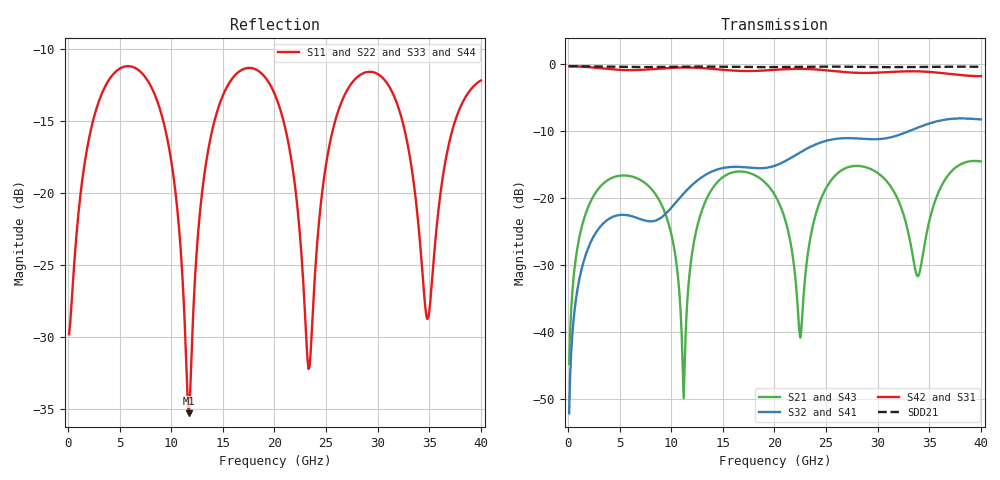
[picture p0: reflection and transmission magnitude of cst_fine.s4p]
! thru_BV_ts_m2_per0_in: 2×thru F.Cu, 8 mm, pair
! stackup: as the board case
! ports: 1 near, 2 near, 3 far, 4 far
! CST Studio Suite 2025.5 Release from 2025-05-30, time domain (FIT, hexahedral, PBA), 227664 mesh cells, 52 s
! mesh: {'lpw': 30.0, 'lpb': 30.0, 'minstep': 0.0, 'ratio': 20}; ports: port 1 (face); port 2 (face); port 3 (face); port 4 (face)
! interpolated from CST's 1001 samples to the case grid
# Hz S RI R 50
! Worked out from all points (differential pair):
!   400 points, 100 MHz to 40 GHz, reference 50 ohm
!   strongest paths, dB at 100 MHz, 10.1 GHz, 20.1 GHz, 30.1 GHz, 40 GHz:
!     S42: -0.3, -0.5, -0.8, -1.3, -1.8
!     S31: -0.3, -0.5, -0.8, -1.3, -1.8
!     S32: -52.2, -21.3, -15.2, -11.2, -8.3
!     S41: -52.2, -21.3, -15.2, -11.2, -8.3
!     S21: -44.8, -26.1, -19.7, -16.4, -14.5
!     S43: -44.8, -26.1, -19.7, -16.4, -14.5
!   taken as a pair (ports 2,1 in; 4,3 out), SDD21 dB: -0.3, -0.4, -0.4, -0.4, -0.4
!   lowest |S11| = -35.3 dB at 11.7 GHz (marker M1), VSWR 1.03, Z = 51.7 + j0.0411 ohm
!   |S11| at or under -10 dB: start of sweep to end of sweep
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1e8  -0.031 0.00892  0.00338 0.00465  0.9658 -0.0274  0.000728 -0.00234
     0.00338 0.00465  -0.031 0.00892  0.000729 -0.00234  0.9658 -0.0274
     0.9658 -0.0274  0.000729 -0.00234  -0.031 0.00892  0.00338 0.00465
     0.000728 -0.00234  0.9658 -0.0274  0.00338 0.00465  -0.031 0.00892
3.8e9  0.1972 0.1392  0.1239 0.0539  0.4633 -0.7964  -0.0684 -0.000798
       0.1239 0.0539  0.1969 0.1398  -0.0684 -0.000894  0.4633 -0.7964
       0.4633 -0.7964  -0.0684 -0.000894  0.1969 0.1398  0.1239 0.0539
       -0.0684 -0.000798  0.4633 -0.7964  0.1239 0.0539  0.1972 0.1392
1.17e10  0.0172 0.000397  0.00677 0.0229  -0.9438 -0.0205  0.00487 0.1183
         0.00677 0.0229  0.0176 0.000531  0.00492 0.1183  -0.9438 -0.0205
         -0.9438 -0.0205  0.00492 0.1183  0.0176 0.000531  0.00677 0.0229
         0.00487 0.1183  -0.9438 -0.0205  0.00677 0.0229  0.0172 0.000397
1.67e10  0.262 0.042  0.1574 -0.0102  -0.2254 0.8614  0.1697 -0.00608
         0.1574 -0.0102  0.2613 0.0454  0.1702 -0.0059  -0.2254 0.8614
         -0.2254 0.8614  0.1702 -0.0059  0.2613 0.0454  0.1574 -0.0102
         0.1697 -0.00608  -0.2254 0.8614  0.1574 -0.0102  0.262 0.042
2.31e10  0.0238 -0.0188  -0.00217 0.0318  0.9146 0.1083  0.0198 -0.2319
         -0.00217 0.0318  0.0258 -0.0184  0.0196 -0.2319  0.9146 0.1083
         0.9146 0.1083  0.0196 -0.2319  0.0258 -0.0184  -0.00217 0.0318
         0.0198 -0.2319  0.9146 0.1083  -0.00217 0.0318  0.0238 -0.0188
3.03e10  0.2377 -0.0896  0.1083 -0.1002  -0.1835 -0.8468  -0.2558 0.1009
         0.1083 -0.1002  0.2392 -0.0828  -0.2566 0.1017  -0.1835 -0.8468
         -0.1835 -0.8468  -0.2566 0.1017  0.2392 -0.0828  0.1083 -0.1002
         -0.2558 0.1009  -0.1835 -0.8468  0.1083 -0.1002  0.2377 -0.0896
4e10  0.2453 -0.00701  0.1776 -0.0597  -0.2425 0.7768  0.3816 0.0539
      0.1776 -0.0597  0.2437 -0.000391  0.3828 0.0541  -0.2425 0.7768
      -0.2425 0.7768  0.3828 0.0541  0.2437 -0.000391  0.1776 -0.0597
      0.3816 0.0539  -0.2425 0.7768  0.1776 -0.0597  0.2453 -0.00701
